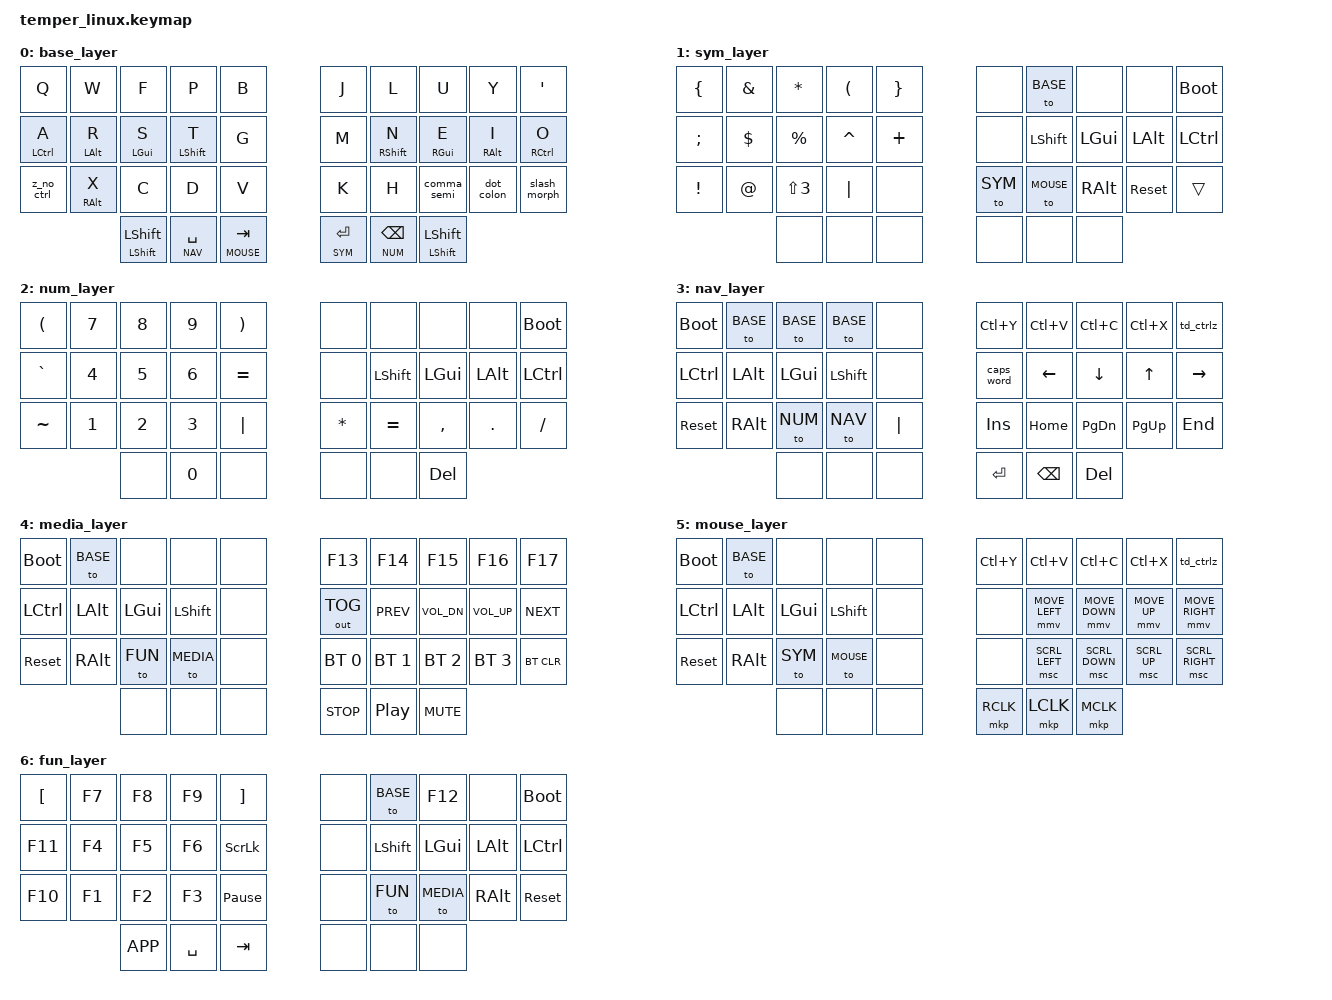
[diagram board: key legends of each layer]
/*
 * Copyright (c) 2025 Will Napier
 *
 * SPDX-License-Identifier: MIT
 *
 * LINUX-SPECIFIC TEMPER KEYMAP (Ctrl edit commands)
 * Ported from codmiryoku Totem Linux (38-key) → Temper (36-key, nice!nano).
 * Outer pinkies dropped; sticky-shift combos S+T / N+E carry Shift.
 * Linux twin of temper.keymap (macOS).
 * British Pound (£) on SYM+D, Hash (#) on Right-Alt+3
 */

#include <behaviors.dtsi>
#include <dt-bindings/zmk/keys.h>
#include <dt-bindings/zmk/bt.h>
#include <dt-bindings/zmk/outputs.h>
#include <dt-bindings/zmk/pointing.h>

// Set maximum mouse velocity
#define ZMK_POINTING_DEFAULT_MOVE_VAL 1440

// Layer definitions
#define BASE 0
#define SYM 1
#define NUM 2
#define NAV 3
#define MEDIA 4
#define MOUSE 5
#define FUN 6

// Miryoku timeless HRM settings
#define QUICK_TAP_MS 175

&mt {
    flavor = "balanced";
    tapping-term-ms = <280>;
    quick-tap-ms = <QUICK_TAP_MS>;
    require-prior-idle-ms = <200>;
    hold-trigger-on-release;
};

/ {
    macros {
        // British Pound Sterling via compose sequence (Menu, L, -)
        // Works with ~/.XCompose on Linux
        pound_macro: pound_macro {
            compatible = "zmk,behavior-macro";
            #binding-cells = <0>;
            wait-ms = <30>;
            tap-ms = <30>;
            bindings = <&kp K_APP>, <&kp L>, <&kp MINUS>;
        };
    };
};

/ {
    behaviors {
        // Layer-tap + quick-tap: tap-then-hold the SAME key repeats the tap
        // (e.g. backspace autorepeat past the HRM), while hold-from-idle still
        // enters the layer. Matches ZMK's default &lt (tap-preferred, 200ms) and
        // only adds QUICK_TAP_MS quick-tap. Used on the &lt_repeat NUM BSPC thumb.
        lt_repeat: layer_tap_repeat {
            compatible = "zmk,behavior-hold-tap";
            #binding-cells = <2>;
            flavor = "tap-preferred";
            tapping-term-ms = <200>;
            quick-tap-ms = <QUICK_TAP_MS>;
            bindings = <&mo>, <&kp>;
        };

        // macOS-SPECIFIC: Cmd+Z for undo (instead of Ctrl+Z)
        td_ctrlz: tap_dance {
            compatible = "zmk,behavior-tap-dance";
            #binding-cells = <0>;
            tapping-term-ms = <200>;
            bindings = <&none>, <&kp LC(Z)>;  // LG = Left GUI (Cmd on macOS)
        };

        // Make Left-Ctrl+Z a hard no-op at the keyboard.
        // Z tapped on its own = "z"; Z pressed while Left-Ctrl is held = nothing.
        // This reads the LIVE modifier state, so it catches a deliberately-held A
        // (the LCTRL home-row mod) just as well as any other source of Left-Ctrl —
        // killing the terminal-suspend (SIGTSTP) that Ctrl+Z would otherwise send.
        // Cmd+Z (LGUI) is untouched: only Left-Ctrl is in the trigger mask, so undo
        // on the NAV layer (td_ctrlz / LC(Z)) still works.
        z_no_ctrl: z_no_ctrl_morph {
            compatible = "zmk,behavior-mod-morph";
            #binding-cells = <0>;
            bindings = <&kp Z>, <&none>;
            mods = <(MOD_LCTL)>;
        };

        // Pinky-style paren morphs kept for optional use; Temper has no outer pinkies.
        smart_shift_left: smart_shift_left_morph {
            compatible = "zmk,behavior-mod-morph";
            #binding-cells = <0>;
            bindings = <&sk LSHFT>, <&kp LPAR>;  // Normal = sticky shift, Shift = (
            mods = <(MOD_LSFT|MOD_RSFT)>;
        };

        smart_shift_right: smart_shift_right_morph {
            compatible = "zmk,behavior-mod-morph";
            #binding-cells = <0>;
            bindings = <&sk LSHFT>, <&kp RPAR>;  // Normal = sticky shift, Shift = )
            mods = <(MOD_LSFT|MOD_RSFT)>;
        };

        // hold = LSHFT, tap = sticky LSHFT — use as &thumb_shift LSHFT LSHFT
        thumb_shift: thumb_dual_shift {
            compatible = "zmk,behavior-hold-tap";
            #binding-cells = <2>;
            flavor = "tap-preferred";
            tapping-term-ms = <200>;
            quick-tap-ms = <QUICK_TAP_MS>;
            bindings = <&kp>, <&sk>;
        };

        // Forward slash / backslash on same key
        slash_morph: slash_behavior {
            compatible = "zmk,behavior-mod-morph";
            #binding-cells = <0>;
            bindings = <&kp FSLH>, <&kp BSLH>;
            mods = <(MOD_LSFT|MOD_RSFT)>;
        };

        // Question mark / exclamation on same key
        question_combo: question_combo_morph {
            compatible = "zmk,behavior-mod-morph";
            #binding-cells = <0>;
            bindings = <&kp QUESTION>, <&kp EXCLAMATION>;   // Normal = ? vs Shift = !
            mods = <(MOD_LSFT|MOD_RSFT)>;
        };

        // Urob-style punct (parity with Totem 2026-07-19): Shift+, → ;  Shift+. → :
        comma_semi: comma_semi_morph {
            compatible = "zmk,behavior-mod-morph";
            #binding-cells = <0>;
            bindings = <&kp COMMA>, <&kp SEMI>;   // ,  /  Shift → ;
            mods = <(MOD_LSFT|MOD_RSFT)>;
        };

        // Period: plain . / Shift → :  (no RAlt-hold; RAlt remains on X and I).
        dot_colon: dot_colon_morph {
            compatible = "zmk,behavior-mod-morph";
            #binding-cells = <0>;
            bindings = <&kp DOT>, <&kp COLON>;    // .  /  Shift → :
            mods = <(MOD_LSFT|MOD_RSFT)>;
        };

        // Plus / equal on same key
        plus_equal: plus_equal_morph {
            compatible = "zmk,behavior-mod-morph";
            #binding-cells = <0>;
            bindings = <&kp PLUS>, <&kp EQUAL>;   // Normal = + vs Shift = =
            mods = <(MOD_LSFT|MOD_RSFT)>;
        };

        // Browser navigation behaviors
        browser_back: browser_back_morph {
            compatible = "zmk,behavior-mod-morph";
            #binding-cells = <0>;
            bindings = <&kp LA(LEFT)>, <&kp LC(PG_UP)>;   // Linux: Alt+Left = back ; Shift = Ctrl+PgUp = prev tab
            mods = <(MOD_LSFT|MOD_RSFT)>;
        };

        browser_forward: browser_forward_morph {
            compatible = "zmk,behavior-mod-morph";
            #binding-cells = <0>;
            bindings = <&kp LA(RIGHT)>, <&kp LC(PG_DN)>;   // Linux: Alt+Right = forward ; Shift = Ctrl+PgDn = next tab
            mods = <(MOD_LSFT|MOD_RSFT)>;
        };

        // Symbol combo behaviors with shift variants
        bracket_left: bracket_left_morph {
            compatible = "zmk,behavior-mod-morph";
            #binding-cells = <0>;
            bindings = <&kp LBKT>, <&kp LBRC>;   // [ normal, { shifted
            mods = <(MOD_LSFT|MOD_RSFT)>;
        };

        bracket_right: bracket_right_morph {
            compatible = "zmk,behavior-mod-morph";
            #binding-cells = <0>;
            bindings = <&kp RBKT>, <&kp RBRC>;   // ] normal, } shifted
            mods = <(MOD_LSFT|MOD_RSFT)>;
        };

        quote: quote_morph {
            compatible = "zmk,behavior-mod-morph";
            #binding-cells = <0>;
            bindings = <&kp SQT>, <&kp DQT>;   // ' normal, " shifted
            mods = <(MOD_LSFT|MOD_RSFT)>;
        };

        // Positional hold-tap for shift - only triggers on opposite hand
        // Uses tap-preferred to bias toward tap during fast rolls
        // Left shift: triggers only on right-hand keys (Temper positions 5 6 7 8 9, 15 16 17 18 19, 26 27 28 29 30 31, 35 36 37)
        hml_shift: home_row_left_shift {
            compatible = "zmk,behavior-hold-tap";
            #binding-cells = <2>;
            flavor = "tap-preferred";
            tapping-term-ms = <280>;
            quick-tap-ms = <QUICK_TAP_MS>;
            require-prior-idle-ms = <200>;
            bindings = <&kp>, <&kp>;
            hold-trigger-key-positions = <5 6 7 8 9 15 16 17 18 19 25 26 27 28 29 33 34 35>;
            hold-trigger-on-release;
        };

        // Positional hold-tap for the left-hand letter mods (Ctrl/Alt/GUI on A/R/S).
        // Same bilateral guard as hml_shift: the hold only triggers in combination with
        // a RIGHT-hand key, so same-hand rolls (e.g. a->z) can never produce Cmd/Ctrl+Z.
        // Deliberate undo stays on the NAV layer, unaffected.
        hml: home_row_left_mod {
            compatible = "zmk,behavior-hold-tap";
            #binding-cells = <2>;
            flavor = "tap-preferred";
            tapping-term-ms = <280>;
            quick-tap-ms = <QUICK_TAP_MS>;
            require-prior-idle-ms = <200>;
            bindings = <&kp>, <&kp>;
            hold-trigger-key-positions = <5 6 7 8 9 15 16 17 18 19 25 26 27 28 29 33 34 35>;
            hold-trigger-on-release;
        };

        // Right shift: triggers only on left-hand keys (Temper positions 0 1 2 3 4, 10 11 12 13 14, 20 21 22 23 24 25, 32 33 34)
        hmr_shift: home_row_right_shift {
            compatible = "zmk,behavior-hold-tap";
            #binding-cells = <2>;
            flavor = "tap-preferred";
            tapping-term-ms = <280>;
            quick-tap-ms = <QUICK_TAP_MS>;
            require-prior-idle-ms = <200>;
            bindings = <&kp>, <&kp>;
            hold-trigger-key-positions = <0 1 2 3 4 10 11 12 13 14 20 21 22 23 24 30 31 32>;
            hold-trigger-on-release;
        };

        // Right Cmd: tap-preferred with higher idle requirement to prevent accidental Cmd+Backspace
        // when typing words ending in E (like "the") followed by quick corrections
        hmr_cmd: home_row_right_cmd {
            compatible = "zmk,behavior-hold-tap";
            #binding-cells = <2>;
            flavor = "tap-preferred";
            tapping-term-ms = <280>;
            quick-tap-ms = <QUICK_TAP_MS>;
            require-prior-idle-ms = <200>;
            bindings = <&kp>, <&kp>;
            hold-trigger-on-release;
        };
    };


    combos {
        compatible = "zmk,combos";

        // Punct dual paths (2026-07-24 trial): keep verticals AND horizontals so both
        // can be compared in real typing. Shift+. / Shift+, morphs remain as backup.
        // Colon:  horizontal J+L  |  vertical I+.
        // Semi:   horizontal P+B  |  vertical E+,
        // Hyphen: vertical N+H    |  horizontal M+N  (mn digraph risk accepted for trial)
        // Positions are Temper-36 (bottom row has no outer pinkies).
        combo_colon {
            timeout-ms = <40>;
            key-positions = <5 6>;  // J + L (horizontal)
            bindings = <&kp COLON>;
            layers = <BASE>;
        };
        combo_colon_vert {
            timeout-ms = <40>;
            key-positions = <18 28>;  // I + . (vertical)
            bindings = <&kp COLON>;
            layers = <BASE>;
        };
        combo_semicolon {
            timeout-ms = <40>;
            key-positions = <3 4>;  // P + B (horizontal)
            bindings = <&kp SEMI>;
            layers = <BASE>;
        };
        combo_semicolon_vert {
            timeout-ms = <40>;
            key-positions = <17 27>;  // E + , (vertical)
            bindings = <&kp SEMI>;
            layers = <BASE>;
        };

        // Hyphen dual path: N+H vertical + M+N horizontal trial.
        combo_minus {
            timeout-ms = <40>;
            key-positions = <16 26>;  // N + H (vertical, Temper 36)
            bindings = <&kp MINUS>;
            layers = <BASE>;
        };
        combo_minus_horiz {
            timeout-ms = <40>;
            key-positions = <15 16>;  // M + N (horizontal)
            bindings = <&kp MINUS>;
            layers = <BASE>;
        };

        // , + . = ? (question mark) / ! (exclamation when shifted)
        combo_question {
            timeout-ms = <50>;
            key-positions = <27 28>;
            bindings = <&question_combo>;
            layers = <BASE>;
        };

        // Safety combo: prevent accidental Cmd+Z when brushing A while pressing Z
        combo_az_null {
            timeout-ms = <50>;
            require-prior-idle-ms = <50>;
            key-positions = <10 20>;  // A + Z
            bindings = <&none>;
            layers = <BASE>;
        };

        // --- Bracket combos: vertical, same-finger, mirrored (L=open / R=close).
        //     Strongest finger = most common bracket: index=(), middle=[], ring={}.
        //     No require-prior-idle: a same-finger flatten can't occur within the
        //     40ms window during normal sequential typing, and an idle guard would
        //     block brackets typed right after a letter (foo(, [text](url)).
        //     Overlaps shift keys S/T/N/E by design — the tight window keeps the
        //     deliberate flatten distinct from a two-finger shift press.
        combo_lparen {   // ( = P + T  (left index)
            timeout-ms = <40>;
            key-positions = <3 13>;
            bindings = <&kp LPAR>;
            layers = <BASE>;
        };
        combo_rparen {   // ) = L + N  (right index)
            timeout-ms = <40>;
            key-positions = <6 16>;
            bindings = <&kp RPAR>;
            layers = <BASE>;
        };
        combo_lbracket {   // [ = F + S  (left middle)
            timeout-ms = <40>;
            key-positions = <2 12>;
            bindings = <&kp LBKT>;
            layers = <BASE>;
        };
        combo_rbracket {   // ] = U + E  (right middle)
            timeout-ms = <40>;
            key-positions = <7 17>;
            bindings = <&kp RBKT>;
            layers = <BASE>;
        };
        combo_lbrace {   // { = W + R  (left ring)
            timeout-ms = <40>;
            key-positions = <1 11>;
            bindings = <&kp LBRC>;
            layers = <BASE>;
        };
        combo_rbrace {   // } = Y + I  (right ring)
            timeout-ms = <40>;
            key-positions = <8 18>;
            bindings = <&kp RBRC>;
            layers = <BASE>;
        };
        combo_langle {   // < = Q + A  (left pinky column)
            timeout-ms = <40>;
            key-positions = <0 10>;
            bindings = <&kp LESS_THAN>;
            layers = <BASE>;
        };
        combo_rangle {   // > = ' + O  (right pinky column)
            timeout-ms = <40>;
            key-positions = <9 19>;
            bindings = <&kp GREATER_THAN>;
            layers = <BASE>;
        };

        // --- Browser-nav combos on the NAV layer (base freed; hyphen reclaims U+Y).
        //     Both on the RIGHT hand around the U pivot so reversing tab direction is a
        //     finger-shift, not a hand-swap: L+U = back/left, U+Y = forward/right.
        //     tap = history, shift = tab (NAV-layer T is LSHFT — hold it for tabs).
        //     Via browser_back/forward morphs: Mac Cmd+[/]·Cmd+{/} ; Linux Alt+←/→·Ctrl+PgUp/Dn.
        //     NB overlaps the NAV clipboard singles (L=paste, U=copy, Y=cut) — watch a
        //     fast copy→paste roll; the tight timeout guards it.
        combo_browser_back {   // NAV: L + U = back / shift = previous tab
            timeout-ms = <45>;
            key-positions = <6 7>;
            bindings = <&browser_back>;
            layers = <NAV>;
        };
        combo_browser_fwd {   // NAV: U + Y = forward / shift = next tab
            timeout-ms = <45>;
            key-positions = <7 8>;
            bindings = <&browser_forward>;
            layers = <NAV>;
        };

        // Esc bilateral (rare bigrams); frees outer thumbs for dual Shift.
        // £ dropped from Y+' — use NUM+Shift+D (muscle memory).
        combo_esc {
            timeout-ms = <50>;
            key-positions = <0 1>;  // Q + W (left)
            bindings = <&kp ESC>;
            layers = <BASE>;
        };
        combo_esc_right {
            timeout-ms = <50>;
            key-positions = <8 9>;  // Y + ' (right)
            bindings = <&kp ESC>;
            layers = <BASE>;
        };

        // --- Layer bars (2026-07-19): 3-key bottom chords; thumbs = dual Shift.
        // xcd = momentary MEDIA; h,. = sticky FUN. Temper 36 positions.
        combo_media_bar {
            timeout-ms = <55>;
            key-positions = <21 22 23>;  // X + C + D
            bindings = <&mo MEDIA>;
            layers = <BASE>;
        };
        combo_fun_bar {
            timeout-ms = <55>;
            key-positions = <26 27 28>;  // H + , + .
            bindings = <&sl FUN>;
            layers = <BASE>;
        };

        combo_at {
            timeout-ms = <50>;
            require-prior-idle-ms = <150>;
            key-positions = <21 22>;  // X + C
            bindings = <&kp AT>;
            layers = <BASE>;
        };

        combo_pipe {
            timeout-ms = <50>;
            require-prior-idle-ms = <150>;
            key-positions = <22 23>;  // C + D
            bindings = <&kp PIPE>;
            layers = <BASE>;
        };

        combo_plus {
            timeout-ms = <50>;
            require-prior-idle-ms = <150>;
            key-positions = <26 27>;  // H + ,
            bindings = <&plus_equal>;
            layers = <BASE>;
        };

        // . + / = ! (exclamation). Y+' is now Esc (was £); £ lives on NUM layer.
        // 50/150: sequential ./ paths type normally; deliberate mash after pause = !.
        combo_exclaim {
            timeout-ms = <50>;
            require-prior-idle-ms = <150>;
            key-positions = <28 29>;  // . + /
            bindings = <&kp EXCL>;
            layers = <BASE>;
        };

        // S+T / N+E one-shot sticky Shift removed (parity Totem 2026-07-18).
        // Capitals: outer thumb dual-Shift, hold-T/N HRM, or NAV caps_word.

    };
};

// Configure mouse movement acceleration (Urob-style)
&mmv {
    acceleration-exponent = <1>;
    time-to-max-speed-ms = <60>;
    delay-ms = <0>;
};

// Configure mouse scroll - remove rate limiting for responsive repeated scrolls
&msc {
    acceleration-exponent = <0>;  // Linear, no acceleration
    time-to-max-speed-ms = <0>;   // Immediate max speed
    delay-ms = <0>;               // No delay between scrolls
};

/ {
    keymap {
        compatible = "zmk,keymap";

        base_layer {
            bindings = <
                &kp Q           &kp W           &kp F           &kp P           &kp B           &kp J           &kp L           &kp U           &kp Y           &kp SQT
                &hml LCTRL A    &hml LALT R     &hml LGUI S     &hml_shift LSHFT T     &kp G    &kp M           &hmr_shift RSHFT N     &hmr_cmd RGUI E  &mt RALT I      &mt RCTRL O
                &z_no_ctrl      &mt RALT X      &kp C           &kp D           &kp V           &kp K           &kp H           &comma_semi     &dot_colon      &slash_morph
                                                &thumb_shift LSHFT LSHFT    &lt NAV SPACE   &lt MOUSE TAB   &lt SYM RET     &lt_repeat NUM BSPC    &thumb_shift LSHFT LSHFT
            >;
        };

        sym_layer {
            bindings = <
                &kp LBRC        &kp AMPS        &kp ASTRK       &kp LPAR        &kp RBRC        &none           &to BASE        &none           &none           &bootloader
                &kp SEMI        &kp DLLR        &kp PRCNT       &kp CARET       &kp PLUS        &none           &kp LSHFT       &kp LGUI        &kp LALT        &kp LCTRL
                &kp EXCL        &kp AT          &kp LS(N3)      &kp PIPE        &none           &to SYM         &to MOUSE       &kp RALT        &sys_reset      &trans
                                                &none           &none           &none           &none           &none           &none
            >;
        };

        num_layer {
            bindings = <
                &kp LPAR        &kp N7          &kp N8          &kp N9          &kp RPAR        &none           &none           &none            &none          &bootloader
                &kp GRAVE       &kp N4          &kp N5          &kp N6          &kp EQUAL       &none           &kp LSHFT       &kp LGUI        &kp LALT        &kp LCTRL
                &kp TILDE       &kp N1          &kp N2          &kp N3          &kp PIPE        &kp STAR        &kp EQUAL       &kp COMMA       &kp DOT         &kp FSLH
                                                &none           &kp N0          &none           &none           &none           &kp DEL
            >;
        };

        nav_layer {
            bindings = <
                // macOS-SPECIFIC: Using LG (Cmd) instead of LC (Ctrl)
                &bootloader     &to BASE        &to BASE        &to BASE        &none           &kp LC(Y)       &kp LC(V)       &kp LC(C)       &kp LC(X)       &td_ctrlz
                &kp LCTRL       &kp LALT        &kp LGUI        &kp LSHFT       &none           &caps_word      &kp LEFT        &kp DOWN        &kp UP          &kp RIGHT
                &sys_reset      &kp RALT        &to NUM         &to NAV         &kp PIPE        &kp INS         &kp HOME        &kp PG_DN       &kp PG_UP       &kp END
                                                &none           &none           &none           &kp RET         &kp BSPC        &kp DEL
             >;
        };

        media_layer {
            // Screenshot keys on top row right (hold MEDIA left thumb + key):
            // J=F13 region→file, L=F14 full→file, U=F15 window→file, Y=F16 region→clip, '=F17 full→clip
            bindings = <
                &bootloader     &to BASE        &none           &none           &none           &kp F13         &kp F14         &kp F15         &kp F16         &kp F17
                &kp LCTRL       &kp LALT        &kp LGUI        &kp LSHFT       &none           &out OUT_TOG    &kp C_PREV      &kp C_VOL_DN    &kp C_VOL_UP    &kp C_NEXT
                &sys_reset      &kp RALT        &to FUN         &to MEDIA       &none           &bt BT_SEL 0    &bt BT_SEL 1    &bt BT_SEL 2    &bt BT_SEL 3    &bt BT_CLR
                                                &none           &none           &none           &kp C_STOP      &kp C_PP        &kp C_MUTE
            >;
        };

        mouse_layer {
            bindings = <
                // macOS-SPECIFIC: Using LG (Cmd) instead of LC (Ctrl)
                &bootloader     &to BASE        &none           &none           &none           &kp LC(Y)       &kp LC(V)       &kp LC(C)       &kp LC(X)       &td_ctrlz
                &kp LCTRL       &kp LALT        &kp LGUI        &kp LSHFT       &none           &none           &mmv MOVE_LEFT  &mmv MOVE_DOWN  &mmv MOVE_UP    &mmv MOVE_RIGHT
                &sys_reset      &kp RALT        &to SYM         &to MOUSE       &none           &none           &msc SCRL_LEFT  &msc SCRL_DOWN  &msc SCRL_UP    &msc SCRL_RIGHT
                                                &none           &none           &none           &mkp RCLK       &mkp LCLK       &mkp MCLK
            >;
        };

        fun_layer {
            bindings = <
                &kp LBKT        &kp F7          &kp F8          &kp F9          &kp RBKT        &none           &to BASE        &kp F12         &none           &bootloader
                &kp F11         &kp F4          &kp F5          &kp F6          &kp SLCK        &none           &kp LSHFT       &kp LGUI        &kp LALT        &kp LCTRL
                &kp F10         &kp F1          &kp F2          &kp F3          &kp PAUSE_BREAK &none           &to FUN         &to MEDIA       &kp RALT        &sys_reset
                                                &kp K_APP       &kp SPACE       &kp TAB         &none           &none           &none
            >;
        };

    };
};
